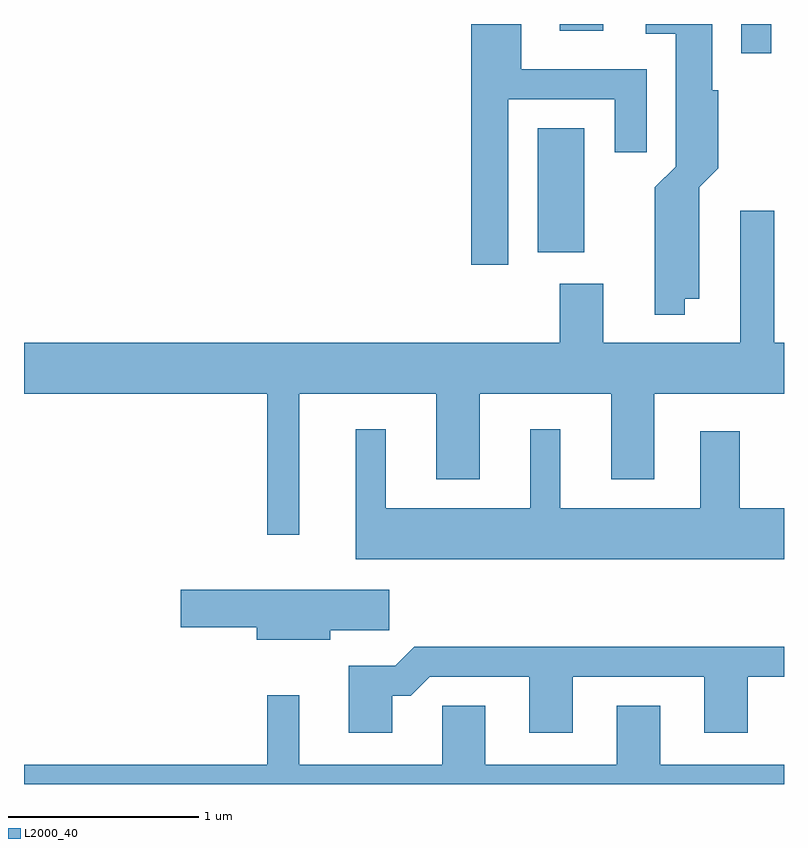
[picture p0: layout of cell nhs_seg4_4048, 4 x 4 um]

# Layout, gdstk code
import gdstk
lib = gdstk.Library(unit=1e-6, precision=1e-09)
def R(c, l, rs):  # rectangles x0, y0, x1, y1
    for r in rs: c.add(gdstk.rectangle(r[:2], r[2:], *l))
def P(c, l, *ps):  # polygons
    for p in ps: c.add(gdstk.Polygon(p, *l))
L2000_40 = (2000, 40)

nhs_seg4_4048 = lib.new_cell('nhs_seg4_4048')
R(nhs_seg4_4048, L2000_40, [(306.316,1328.781,306.559,1329.434), (307.386,1329.828,307.544,1329.982), (306.431,1329.946,306.659,1329.982)])
P(nhs_seg4_4048, L2000_40, [(307.089,1328.536),(307.164,1328.536),(307.164,1329.124),(307.264,1329.224),(307.264,1329.634),(307.234,1329.634),(307.234,1329.982),(306.883,1329.982),(306.883,1329.931),(307.041,1329.931),(307.041,1329.232),(306.931,1329.122),(306.931,1328.453),(307.089,1328.453)],
  [(306.159,1329.586),(306.721,1329.586),(306.721,1329.308),(306.889,1329.308),(306.889,1329.744),(306.229,1329.744),(306.229,1329.982),(305.966,1329.982),(305.966,1328.716),(306.159,1328.716)],
  [(305.059,1328.036),(305.781,1328.036),(305.781,1327.586),(306.009,1327.586),(306.009,1328.036),(306.701,1328.036),(306.701,1327.586),(306.929,1327.586),(306.929,1328.036),(307.611,1328.036),(307.611,1328.304),(307.559,1328.304),(307.559,1328.999),(307.381,1328.999),(307.381,1328.304),(306.659,1328.304),(306.659,1328.614),(306.431,1328.614),(306.431,1328.304),(303.611,1328.304),(303.611,1328.036),(304.891,1328.036),(304.891,1327.293),(305.059,1327.293)],
  [(307.611,1327.434),(307.379,1327.434),(307.379,1327.839),(307.171,1327.839),(307.171,1327.434),(306.434,1327.434),(306.434,1327.848),(306.276,1327.848),(306.276,1327.434),(305.514,1327.434),(305.514,1327.848),(305.356,1327.848),(305.356,1327.166),(307.611,1327.166)],
  [(305.224,1326.791),(305.534,1326.791),(305.534,1327.004),(304.436,1327.004),(304.436,1326.806),(304.836,1326.806),(304.836,1326.741),(305.224,1326.741)],
  [(305.549,1326.446),(305.647,1326.446),(305.747,1326.546),(306.271,1326.546),(306.271,1326.251),(306.499,1326.251),(306.499,1326.546),(307.191,1326.546),(307.191,1326.251),(307.419,1326.251),(307.419,1326.546),(307.611,1326.546),(307.611,1326.704),(305.664,1326.704),(305.564,1326.604),(305.321,1326.604),(305.321,1326.251),(305.549,1326.251)],
  [(304.891,1326.448),(304.891,1326.084),(303.611,1326.084),(303.611,1325.982),(307.611,1325.982),(307.611,1326.084),(306.959,1326.084),(306.959,1326.394),(306.731,1326.394),(306.731,1326.084),(306.039,1326.084),(306.039,1326.394),(305.811,1326.394),(305.811,1326.084),(305.059,1326.084),(305.059,1326.448)])

lib.write_gds('nhs_seg4_4048.gds')
